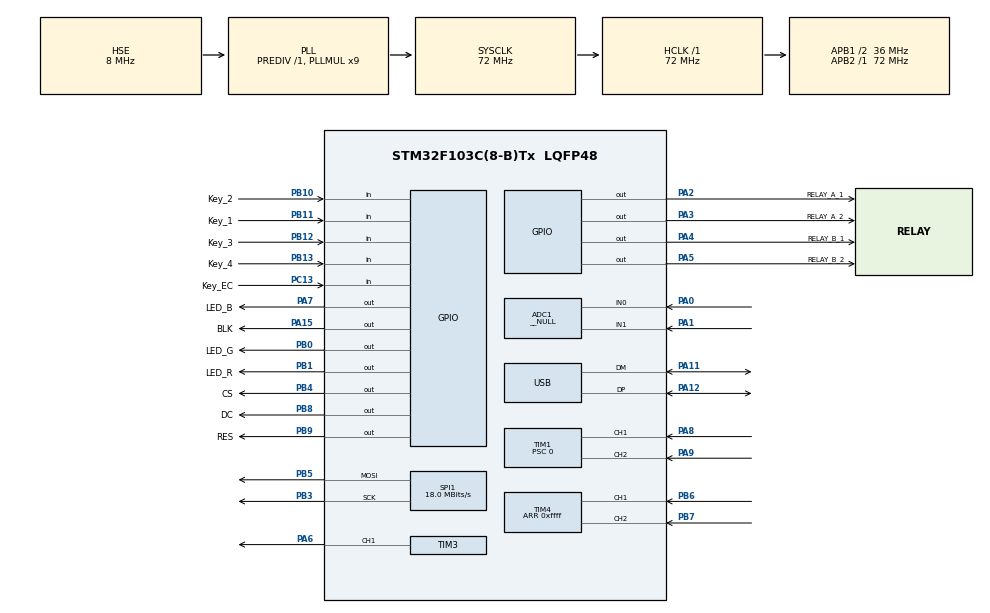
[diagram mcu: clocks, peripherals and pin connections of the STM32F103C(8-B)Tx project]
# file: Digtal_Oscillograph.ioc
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ADC1.Channel-0\#ChannelRegularConversion=ADC_CHANNEL_0
ADC1.Channel-2\#ChannelRegularConversion=ADC_CHANNEL_1
ADC1.ContinuousConvMode=ENABLE
ADC1.EnableAnalogWatchDog=false
ADC1.Mode=__NULL
ADC1.NbrOfConversion=2
ADC1.NbrOfConversionFlag=1
ADC1.Rank-0\#ChannelRegularConversion=1
ADC1.Rank-2\#ChannelRegularConversion=2
ADC1.SamplingTime-0\#ChannelRegularConversion=ADC_SAMPLETIME_1CYCLE_5
ADC1.SamplingTime-2\#ChannelRegularConversion=ADC_SAMPLETIME_1CYCLE_5
ADC1.master=1
Dma.ADC1.0.Direction=DMA_PERIPH_TO_MEMORY
Dma.ADC1.0.Instance=DMA1_Channel1
Dma.ADC1.0.MemDataAlignment=DMA_MDATAALIGN_HALFWORD
Dma.ADC1.0.MemInc=DMA_MINC_ENABLE
Dma.ADC1.0.Mode=DMA_NORMAL
Dma.ADC1.0.PeriphDataAlignment=DMA_PDATAALIGN_HALFWORD
Dma.ADC1.0.PeriphInc=DMA_PINC_DISABLE
Dma.ADC1.0.Priority=DMA_PRIORITY_LOW
Dma.Request0=ADC1
Mcu.Family=STM32F1
Mcu.Name=STM32F103C(8-B)Tx
Mcu.Package=LQFP48
NVIC.DMA1_Channel1_IRQn=true\:0\:0\:false\:false\:true\:false\:true\:true
NVIC.PriorityGroup=NVIC_PRIORITYGROUP_4
NVIC.TIM1_CC_IRQn=true\:0\:0\:false\:false\:true\:true\:true\:true
NVIC.USB_LP_CAN1_RX0_IRQn=true\:0\:0\:false\:false\:true\:false\:true\:true
PA0-WKUP.Signal=ADCx_IN0
PA1.Signal=ADCx_IN1
PA11.Mode=Device
PA11.Signal=USB_DM
PA12.Mode=Device
PA12.Signal=USB_DP
PA13.Mode=Serial_Wire
PA13.Signal=SYS_JTMS-SWDIO
PA14.Mode=Serial_Wire
PA14.Signal=SYS_JTCK-SWCLK
PA15.GPIO_Label=BLK
PA15.Signal=GPIO_Output
PA2.GPIO_Label=RELAY_A_1
PA2.GPIO_PuPd=GPIO_PULLDOWN
PA2.Signal=GPIO_Output
PA3.GPIO_Label=RELAY_A_2
PA3.GPIO_PuPd=GPIO_PULLDOWN
PA3.Signal=GPIO_Output
PA4.GPIO_Label=RELAY_B_1
PA4.GPIO_PuPd=GPIO_PULLDOWN
PA4.PinState=GPIO_PIN_RESET
PA4.Signal=GPIO_Output
PA5.GPIO_Label=RELAY_B_2
PA5.GPIO_PuPd=GPIO_PULLDOWN
PA5.PinState=GPIO_PIN_RESET
PA5.Signal=GPIO_Output
PA6.Signal=S_TIM3_CH1
PA7.GPIO_Label=LED_B
PA7.GPIO_PuPd=GPIO_PULLDOWN
PA7.Signal=GPIO_Output
PA8.GPIO_PuPd=GPIO_PULLDOWN
PA8.Signal=S_TIM1_CH1
PA9.GPIO_PuPd=GPIO_PULLDOWN
PA9.Signal=S_TIM1_CH2
PB0.GPIO_Label=LED_G
PB0.GPIO_PuPd=GPIO_PULLDOWN
PB0.Signal=GPIO_Output
PB1.GPIO_Label=LED_R
PB1.GPIO_PuPd=GPIO_PULLDOWN
PB1.Signal=GPIO_Output
PB10.GPIO_Label=Key_2
PB10.GPIO_PuPd=GPIO_PULLUP
PB10.Signal=GPIO_Input
PB11.GPIO_Label=Key_1
PB11.GPIO_PuPd=GPIO_PULLUP
PB11.Signal=GPIO_Input
PB12.GPIO_Label=Key_3
PB12.GPIO_PuPd=GPIO_PULLUP
PB12.Signal=GPIO_Input
PB13.GPIO_Label=Key_4
PB13.GPIO_PuPd=GPIO_PULLUP
PB13.Signal=GPIO_Input
PB3.Mode=TX_Only_Simplex_Unidirect_Master
PB3.Signal=SPI1_SCK
PB4.GPIO_Label=CS
PB4.Signal=GPIO_Output
PB5.Mode=TX_Only_Simplex_Unidirect_Master
PB5.Signal=SPI1_MOSI
PB6.Signal=S_TIM4_CH1
PB7.Signal=S_TIM4_CH2
PB8.GPIO_Label=DC
PB8.Signal=GPIO_Output
PB9.GPIO_Label=RES
PB9.Signal=GPIO_Output
PC13-TAMPER-RTC.GPIO_Label=Key_EC
PC13-TAMPER-RTC.GPIO_PuPd=GPIO_PULLUP
PC13-TAMPER-RTC.Signal=GPIO_Input
PC14-OSC32_IN.Mode=LSE-External-Oscillator
PC14-OSC32_IN.Signal=RCC_OSC32_IN
PC15-OSC32_OUT.Mode=LSE-External-Oscillator
PC15-OSC32_OUT.Signal=RCC_OSC32_OUT
PD0-OSC_IN.Mode=HSE-External-Oscillator
PD0-OSC_IN.Signal=RCC_OSC_IN
PD1-OSC_OUT.Mode=HSE-External-Oscillator
PD1-OSC_OUT.Signal=RCC_OSC_OUT
ProjectManager.HeapSize=0x500
ProjectManager.StackSize=0x400
ProjectManager.TargetToolchain=STM32CubeIDE
RCC.ADCPresc=RCC_ADCPCLK2_DIV6
RCC.AHBFreq_Value=72000000
RCC.APB1CLKDivider=RCC_HCLK_DIV2
RCC.APB1Freq_Value=36000000
RCC.APB1TimFreq_Value=72000000
RCC.APB2Freq_Value=72000000
RCC.APB2TimFreq_Value=72000000
RCC.HCLKFreq_Value=72000000
RCC.PLLMUL=RCC_PLL_MUL9
RCC.PLLSourceVirtual=RCC_PLLSOURCE_HSE
RCC.SYSCLKFreq_VALUE=72000000
RCC.SYSCLKSource=RCC_SYSCLKSOURCE_PLLCLK
RCC.USBFreq_Value=48000000
RCC.USBPrescaler=RCC_USBCLKSOURCE_PLL_DIV1_5
SH.ADCx_IN0.0=ADC1_IN0,IN0
SH.ADCx_IN1.0=ADC1_IN1,IN1
SH.S_TIM1_CH1.0=TIM1_CH1,Input_Capture1_from_TI1
SH.S_TIM1_CH2.0=TIM1_CH2,Input_Capture2_from_TI2
SH.S_TIM3_CH1.0=TIM3_CH1,PWM Generation1 CH1
SH.S_TIM4_CH1.0=TIM4_CH1,Encoder_Interface
SH.S_TIM4_CH2.0=TIM4_CH2,Encoder_Interface
SPI1.BaudRatePrescaler=SPI_BAUDRATEPRESCALER_4
SPI1.CalculateBaudRate=18.0 MBits/s
SPI1.Direction=SPI_DIRECTION_2LINES
SPI1.Mode=SPI_MODE_MASTER
SPI1.VirtualType=VM_MASTER
TIM1.Channel-Input_Capture1_from_TI1=TIM_CHANNEL_1
TIM1.Channel-Input_Capture2_from_TI2=TIM_CHANNEL_2
TIM1.ICFilter_CH1=8
TIM1.ICFilter_CH2=8
TIM1.Prescaler=0
TIM3.AutoReloadPreload=TIM_AUTORELOAD_PRELOAD_ENABLE
TIM3.Channel-PWM\ Generation1\ CH1=TIM_CHANNEL_1
TIM3.Period=499
TIM3.Prescaler=71
TIM3.Pulse-PWM\ Generation1\ CH1=100
TIM4.Period=0xffff
USB_DEVICE.CLASS_NAME_FS=CDC
USB_DEVICE.VirtualMode=Cdc
USB_DEVICE.VirtualModeFS=Cdc_FS
VP_TIM1_VS_ClockSourceINT.Mode=Internal
VP_TIM3_VS_ClockSourceINT.Mode=Internal
VP_USB_DEVICE_VS_USB_DEVICE_CDC_FS.Mode=CDC_FS
board=custom

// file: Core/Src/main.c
/* USER CODE BEGIN Header */
/**
  ******************************************************************************
  * @file           : main.c
  * @brief          : Main program body
  ******************************************************************************
  * @attention
  *
  * Copyright (c) 2024 STMicroelectronics.
  * All rights reserved.
  *
  * This software is licensed under terms that can be found in the LICENSE file
  * in the root directory of this software component.
  * If no LICENSE file comes with this software, it is provided AS-IS.
  *
  ******************************************************************************
  */
/* USER CODE END Header */
#include "main.h"
#include "adc.h"
#include "dma.h"
#include "spi.h"
#include "tim.h"
#include "usb_device.h"
#include "gpio.h"

/* USER CODE BEGIN Includes */
#include "usbd_cdc_if.h"

#include "lcd.h"
#include "gui.h"
#include "LCD_Task.h"
#include "KEY_Task.h"
/* USER CODE END Includes */

/* USER CODE BEGIN PV */

uint32_t capture_Buf[3] = {0};   //存放计数值
uint8_t capture_Cnt = 0;    //状态标志位
uint32_t high_time;   //高电平时间

uint8_t ADC_DMA_FLAG;

OscillographState_Type Oscillograph;

float max_data[2] = {1.0f, 1.0f};

/* USER CODE END PV */

void SystemClock_Config(void);

int main(void)
{

  /* MCU Configuration--------------------------------------------------------*/

  /* Reset of all peripherals, Initializes the Flash interface and the Systick. */
  HAL_Init();

  /* Configure the system clock */
  SystemClock_Config();

  /* Initialize all configured peripherals */
  MX_GPIO_Init();
  MX_DMA_Init();
  MX_ADC1_Init();
  MX_SPI1_Init();
  MX_TIM1_Init();
  MX_TIM3_Init();
  MX_TIM4_Init();
  MX_USB_DEVICE_Init();
  /* USER CODE BEGIN 2 */

  LCD_Init();
  Display_StaticUI();

  Oscillograph.pwmDuty = 50;
  Oscillograph.pwmFreq = 2000;
  Oscillograph.pwmPolarity = 1;
  Oscillograph.pwmPSC = 72;
  Oscillograph.pwmARR = 500;

  __HAL_TIM_SetCounter(&htim4, 0x7fff);
  HAL_TIM_Encoder_Start(&htim4, TIM_CHANNEL_1 | TIM_CHANNEL_2 );

	HAL_ADCEx_Calibration_Start(&hadc1);
	HAL_ADC_Start_DMA(&hadc1, (uint32_t *)Oscillograph.adcAcquisition, SAMPLING_TIMES);

	LED_R_ON;
  /* USER CODE END 2 */

  /* Infinite loop */
  while (1)
  {

    /* USER CODE BEGIN 3 */
	Key_Handle();

	  switch (capture_Cnt){
		  case 0:
			  capture_Cnt++;
//			  __HAL_TIM_SET_CAPTUREPOLARITY(&htim1, TIM_CHANNEL_1, TIM_INPUTCHANNELPOLARITY_RISING);
			  HAL_TIM_IC_Start_IT(&htim1, TIM_CHANNEL_1 | TIM_CHANNEL_2);	//启动输入捕获       或者: __HAL_TIM_ENABLE(&htim5);
			  break;
		  case 3:
			  Oscillograph.freqGather[0] = 1000000.f / (capture_Buf[1]- capture_Buf[0]);    //高电平时间
			  capture_Cnt = 0;  //清空标志位
			  break;

	  }

//	  GUI_ShowNum(0, 0, Oscillograph.adcSamplingTime[0], 1, 12, LIGHTYELLOW, BLACK);
//	  GUI_ShowNum(12, 0, Oscillograph.adcSamplingTime[1], 1, 12, LIGHTGREEN, BLACK);
	  GUI_ShowNum(73, 92, Oscillograph.freqGather[0], 5, 12, BLACK, LIGHTYELLOW);
	  GUI_ShowNum(73, 106, Oscillograph.freqGather[1], 5, 12, BLACK, LIGHTBLUE);

	  if (Oscillograph.pwmState ){
		  GUI_ShowString(110,36,(uint8_t *)"    ON",BLACK,YELLOW,16,0);
	  } else{
		  GUI_ShowString(110,36,(uint8_t *)"   OFF",BLACK,YELLOW,16,0);
	  }
	  GUI_ShowNum(110, 72, Oscillograph.pwmFreq, 6, 16, BLACK, YELLOW);
	  GUI_ShowNum(110, 108, Oscillograph.pwmDuty, 6, 16, BLACK, YELLOW);

	  if (ADC_DMA_FLAG && (Oscillograph.displayPause == 0)) {
		  ADC_DMA_FLAG = 0;

		  for ( int i = 0; i < 2; ++i ) {
			  for ( int j = 0; j < SAMPLING_TIMES; ++j ) {
				  Oscillograph.voltage[j][i] = ( (float )Oscillograph.adcAcquisition[j][i] * 3.3f ) / 4096.0f;

				  if ( Oscillograph.vpp[i] < Oscillograph.voltage[j][i] )
					  Oscillograph.vpp[i] = Oscillograph.voltage[j][i];
				  if ( Oscillograph.vpp[i] <= 0.3 )
					  Oscillograph.freqGather[0] = 0;
			  }
		  }

		  for ( int i = 0; i < 2; ++i ) {
			  for ( int j = 0; j < 200; ++j ) {
				  if ( Oscillograph.voltage[j][i] < max_data[i] ) {
					  for ( ; j < 200; ++j ) {
						  if ( Oscillograph.voltage[j][i] > max_data[i] ) {
							  Oscillograph.triggerNumber[i] = j;
							  break;
						  }
					  }
				  }
				  break;
			  }
		  }

		  for ( int i = 0; i < 2; ++i ) {
			  if ( Oscillograph.vpp[i] > 0.3 ) {
				  Oscillograph.median[i] = Oscillograph.vpp[i] / 2.f;

				  Oscillograph.gainFactor[i] = 18.f / Oscillograph.median[i];

			  }
		  }

		  for ( uint16_t i = Oscillograph.triggerNumber[0]; i < Oscillograph.triggerNumber[0] + 100; ++i ) {
			  Oscillograph.displayVoltage[0] = Oscillograph.voltage[i][0];

			  if ( Oscillograph.displayVoltage[0] >= Oscillograph.median[0] )
				  Oscillograph.displayVoltage[0] =
						  40 - ( Oscillograph.displayVoltage[0] - Oscillograph.median[0] ) * Oscillograph.gainFactor[0];
			  else
				  Oscillograph.displayVoltage[0] =
						  40 + ( Oscillograph.displayVoltage[0] - Oscillograph.median[0] ) * Oscillograph.gainFactor[0];

			  GUI_DrawCurve( 80, Oscillograph.displayVoltage[0] );
			  Oscillograph.displayVoltage[1] = Oscillograph.voltage[i][1];

			  if ( Oscillograph.displayVoltage[1] >= Oscillograph.median[1] )
				  Oscillograph.displayVoltage[1] =
						  40 - ( Oscillograph.displayVoltage[1] - Oscillograph.median[1] ) * Oscillograph.gainFactor[1];
			  else
				  Oscillograph.displayVoltage[1] =
						  40 + ( Oscillograph.displayVoltage[1] - Oscillograph.median[1] ) * Oscillograph.gainFactor[1];

			  GUI_DrawCurve( 80, Oscillograph.displayVoltage[1] );
		  }

		  GUI_ShowNum(35, 92, Oscillograph.vpp[0], 3, 12, BLACK, LIGHTYELLOW);
		  GUI_ShowNum(35, 106, Oscillograph.vpp[1], 3, 12, BLACK, LIGHTBLUE);
	  }
  }
  /* USER CODE END 3 */
}

void SystemClock_Config(void)
{
  RCC_OscInitTypeDef RCC_OscInitStruct = {0};
  RCC_ClkInitTypeDef RCC_ClkInitStruct = {0};
  RCC_PeriphCLKInitTypeDef PeriphClkInit = {0};

  /** Initializes the RCC Oscillators according to the specified parameters
  * in the RCC_OscInitTypeDef structure.
  */
  RCC_OscInitStruct.OscillatorType = RCC_OSCILLATORTYPE_HSE;
  RCC_OscInitStruct.HSEState = RCC_HSE_ON;
  RCC_OscInitStruct.HSEPredivValue = RCC_HSE_PREDIV_DIV1;
  RCC_OscInitStruct.HSIState = RCC_HSI_ON;
  RCC_OscInitStruct.PLL.PLLState = RCC_PLL_ON;
  RCC_OscInitStruct.PLL.PLLSource = RCC_PLLSOURCE_HSE;
  RCC_OscInitStruct.PLL.PLLMUL = RCC_PLL_MUL9;
  if (HAL_RCC_OscConfig(&RCC_OscInitStruct) != HAL_OK)
  {
    Error_Handler();
  }

  /** Initializes the CPU, AHB and APB buses clocks
  */
  RCC_ClkInitStruct.ClockType = RCC_CLOCKTYPE_HCLK|RCC_CLOCKTYPE_SYSCLK
                              |RCC_CLOCKTYPE_PCLK1|RCC_CLOCKTYPE_PCLK2;
  RCC_ClkInitStruct.SYSCLKSource = RCC_SYSCLKSOURCE_PLLCLK;
  RCC_ClkInitStruct.AHBCLKDivider = RCC_SYSCLK_DIV1;
  RCC_ClkInitStruct.APB1CLKDivider = RCC_HCLK_DIV2;
  RCC_ClkInitStruct.APB2CLKDivider = RCC_HCLK_DIV1;

  if (HAL_RCC_ClockConfig(&RCC_ClkInitStruct, FLASH_LATENCY_2) != HAL_OK)
  {
    Error_Handler();
  }
  PeriphClkInit.PeriphClockSelection = RCC_PERIPHCLK_ADC|RCC_PERIPHCLK_USB;
  PeriphClkInit.AdcClockSelection = RCC_ADCPCLK2_DIV6;
  PeriphClkInit.UsbClockSelection = RCC_USBCLKSOURCE_PLL_DIV1_5;
  if (HAL_RCCEx_PeriphCLKConfig(&PeriphClkInit) != HAL_OK)
  {
    Error_Handler();
  }
}

/* USER CODE BEGIN 4 */

void HAL_TIM_IC_CaptureCallback(TIM_HandleTypeDef *htim) {

	if ( TIM1 == htim->Instance ) {
		switch ( capture_Cnt ) {
			case 1:
				capture_Buf[0] = HAL_TIM_ReadCapturedValue( &htim1, TIM_CHANNEL_1 );//获取当前的捕获值.
				__HAL_TIM_SET_CAPTUREPOLARITY( &htim1, TIM_CHANNEL_1, TIM_ICPOLARITY_FALLING );  //设置为下降沿捕获
				capture_Cnt++;
				break;
			case 2:
				capture_Buf[1] = HAL_TIM_ReadCapturedValue( &htim1, TIM_CHANNEL_1 );//获取当前的捕获值.
				HAL_TIM_IC_Stop_IT( &htim1, TIM_CHANNEL_1 ); //停止捕获   或者: __HAL_TIM_DISABLE(&htim5);
				capture_Cnt++;
		}

	}
}

/* USER CODE END 4 */

void Error_Handler(void)
{
  __disable_irq();
  while (1)
  {
  }
}
